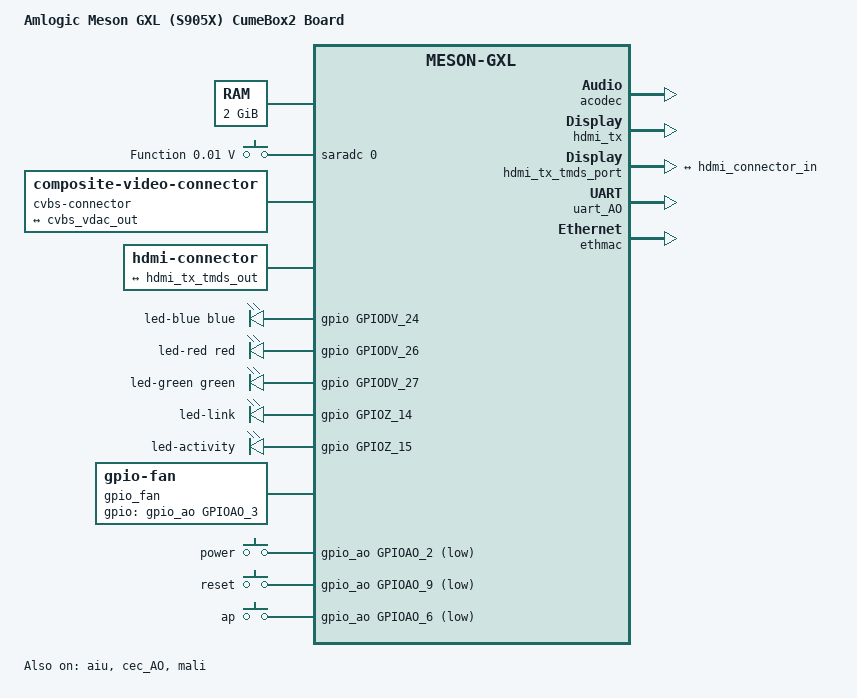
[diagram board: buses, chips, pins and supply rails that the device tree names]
// SPDX-License-Identifier: (GPL-2.0+ OR MIT)
/*
 * Copyright (c) 2016 Endless Computers, Inc.
 * Author: Carlo Caione <carlo@endlessm.com>
 */

/dts-v1/;

#include "meson-gxl-s905x-p212.dtsi"
#include <dt-bindings/leds/common.h>
#include <dt-bindings/input/input.h>

/ {
    compatible = "amlogic,cumebox2", "amlogic,s905x", "amlogic,meson-gxl";
    model = "Amlogic Meson GXL (S905X) CumeBox2 Board";

    memory@0 {
        device_type = "memory";
        reg = <0x0 0x0 0x0 0x80000000>;// 2G
    };

    adc-keys {
        compatible = "adc-keys";
        io-channels = <&saradc 0>;
        io-channel-names = "buttons";
        keyup-threshold-microvolt = <1710000>;

        button-function {
            label = "Function";
            linux,code = <KEY_FN>;
            press-threshold-microvolt = <10000>;
        };
    };

    cvbs-connector {
        compatible = "composite-video-connector";
        port {
            cvbs_connector_in: endpoint {
                remote-endpoint = <&cvbs_vdac_out>;
            };
        };
    };

    hdmi-connector {
        compatible = "hdmi-connector";
        type = "a";
        port {
            hdmi_connector_in: endpoint {
                remote-endpoint = <&hdmi_tx_tmds_out>;
            };
        };
    };

    leds {
        compatible = "gpio-leds";

        led_blue: led-blue {
            label = "led-blue";
            color = <LED_COLOR_ID_BLUE>;
            function = LED_FUNCTION_STATUS;
            gpios = <&gpio GPIODV_24 GPIO_ACTIVE_HIGH>;     //474
            default-state = "off";        
            linux,default-trigger = "default-on";           
            panic-indicator-inhibit;                         
        };
    
        led_red: led-red {
            label = "led-red";
            color = <LED_COLOR_ID_RED>;
            function = LED_FUNCTION_PANIC;                   
            gpios = <&gpio GPIODV_26 GPIO_ACTIVE_HIGH>;       //476
            default-state = "off";
            panic-indicator;                                  
        };
    
        led_green: led-green {
            label = "led-green";
            color = <LED_COLOR_ID_GREEN>;
            function = LED_FUNCTION_HEARTBEAT;
            gpios = <&gpio GPIODV_27 GPIO_ACTIVE_HIGH>;       //477
            default-state = "off";
            //linux,default-trigger = "heartbeat";
        };

        eth_led_link: net-link {
            label = "led-link";
            gpios = <&gpio GPIOZ_14 GPIO_ACTIVE_HIGH>;         //537
            linux,default-trigger = "netdev";
            default-state = "off";
        };

        eth_led_act: net-act {
            label = "led-activity"; 
            gpios = <&gpio GPIOZ_15 GPIO_ACTIVE_HIGH>;        //538
            linux,default-trigger = "netdev";
            default-state = "off";
        };
    };

    thermal-zones {
        cpu-thermal {
            polling-delay-passive = <250>; /* milliseconds */
            polling-delay = <1000>; /* milliseconds */      
            thermal-sensors = <&scpi_sensors 0>;

            trips {
                cpu_active: cpu-active {
                    temperature = <45000>; /* millicelsius */
                    hysteresis = <2000>; /* millicelsius */
                    type = "active";
                };

                cpu_passive: cpu-passive {
                    temperature = <85000>; /* millicelsius */
                    hysteresis = <2000>; /* millicelsius */
                    type = "passive";
                };

                cpu_critical: cpu-critical {
                    temperature = <100000>; /* millicelsius */
                    hysteresis = <2000>; /* millicelsius */
                    type = "critical";
                };
            };

            cooling-maps {
                map0 {
                    trip = <&cpu_active>;
                    cooling-device = <&gpio_fan THERMAL_NO_LIMIT 1>;
                };

                map1 {
                    trip = <&cpu_passive>;
                    cooling-device = <&gpio_fan THERMAL_NO_LIMIT 1>;
                };

                map2 {
                    trip = <&cpu_critical>;
                    cooling-device = <&gpio_fan THERMAL_NO_LIMIT 1>,
                          <&cpu0 THERMAL_NO_LIMIT THERMAL_NO_LIMIT>,
                          <&cpu1 THERMAL_NO_LIMIT THERMAL_NO_LIMIT>,
                          <&cpu2 THERMAL_NO_LIMIT THERMAL_NO_LIMIT>,
                          <&cpu3 THERMAL_NO_LIMIT THERMAL_NO_LIMIT>;
                };
            };
        };
    };

    gpio_fan:gpio-fan {
        #cooling-cells = <2>;
        compatible = "gpio-fan";
        status = "okay";
        gpio-fan,speed-map = <0 0 4500 1>;
        gpios = <&gpio_ao GPIOAO_3 GPIO_ACTIVE_HIGH>; //3 gpio 504
    };

    gpio-keys-polled {
        compatible = "gpio-keys-polled";
        poll-interval = <100>;

        power-button {
            label = "power";
            linux,code = <KEY_POWER>;
            gpios = <&gpio_ao GPIOAO_2 GPIO_ACTIVE_LOW>;//2 gpio 503
        };

        reset-button {
            label = "reset";
            linux,code = <KEY_FN_F1>;
            gpios = <&gpio_ao GPIOAO_9 GPIO_ACTIVE_LOW>;//9 gpio 510
        };

        ap-button {
            label = "ap";
            linux,code = <KEY_FN_F2>;
            gpios = <&gpio_ao GPIOAO_6 GPIO_ACTIVE_LOW>;  //6 gpio 507
        };
    };
};

&acodec {
    AVDD-supply = <&vddio_ao18>;
    status = "okay";
};

&aiu {
    status = "okay";
};

&cec_AO {
    status = "okay";
    pinctrl-0 = <&ao_cec_pins>;
    pinctrl-names = "default";
    hdmi-phandle = <&hdmi_tx>;
};

&cvbs_vdac_port {
    cvbs_vdac_out: endpoint {
        remote-endpoint = <&cvbs_connector_in>;
    };
};

&hdmi_tx {
    status = "okay";
    pinctrl-0 = <&hdmi_hpd_pins>, <&hdmi_i2c_pins>;
    pinctrl-names = "default";
    hdmi-supply = <&hdmi_5v>;
};

&hdmi_tx_tmds_port {
    hdmi_tx_tmds_out: endpoint {
        remote-endpoint = <&hdmi_connector_in>;
    };
};

/* This UART is brought out to the DB9 connector */
&uart_AO {
    status = "okay";
};

&ethmac {
    status = "okay";
};

&mali {
	status = "okay";
};












